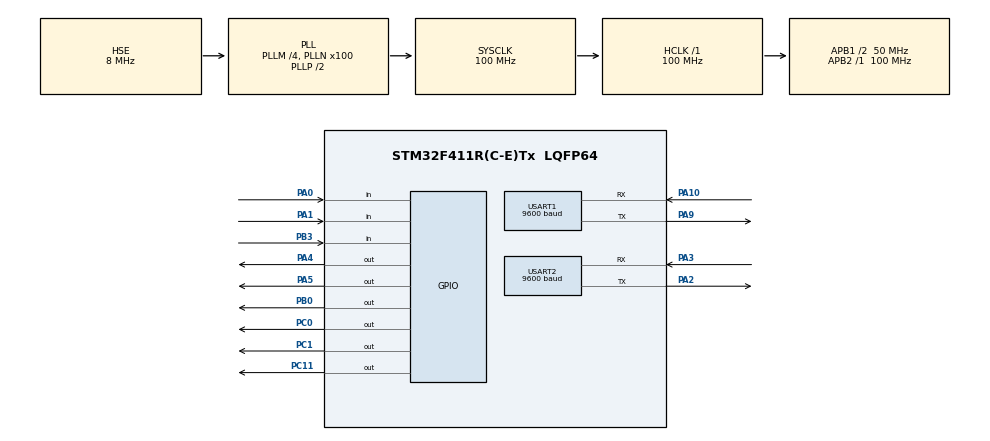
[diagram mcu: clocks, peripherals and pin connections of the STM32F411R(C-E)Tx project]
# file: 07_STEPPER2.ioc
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Mcu.Family=STM32F4
Mcu.Name=STM32F411R(C-E)Tx
Mcu.Package=LQFP64
NVIC.PriorityGroup=NVIC_PRIORITYGROUP_4
PA0-WKUP.Signal=GPIO_Input
PA1.Signal=GPIO_Input
PA10.Mode=Asynchronous
PA10.Signal=USART1_RX
PA13.Mode=Serial_Wire
PA13.Signal=SYS_JTMS-SWDIO
PA14.Mode=Serial_Wire
PA14.Signal=SYS_JTCK-SWCLK
PA2.Mode=Asynchronous
PA2.Signal=USART2_TX
PA3.Mode=Asynchronous
PA3.Signal=USART2_RX
PA4.Signal=GPIO_Output
PA5.Signal=GPIO_Output
PA9.Mode=Asynchronous
PA9.Signal=USART1_TX
PB0.Signal=GPIO_Output
PB3.Signal=GPIO_Input
PC0.Signal=GPIO_Output
PC1.Signal=GPIO_Output
PC11.Signal=GPIO_Output
PH0\ -\ OSC_IN.Mode=HSE-External-Oscillator
PH0\ -\ OSC_IN.Signal=RCC_OSC_IN
PH1\ -\ OSC_OUT.Mode=HSE-External-Oscillator
PH1\ -\ OSC_OUT.Signal=RCC_OSC_OUT
ProjectManager.HeapSize=0x200
ProjectManager.StackSize=0x400
ProjectManager.TargetToolchain=STM32CubeIDE
RCC.48MHZClocksFreq_Value=50000000
RCC.AHBFreq_Value=100000000
RCC.APB1CLKDivider=RCC_HCLK_DIV2
RCC.APB1Freq_Value=50000000
RCC.APB1TimFreq_Value=100000000
RCC.APB2Freq_Value=100000000
RCC.APB2TimFreq_Value=100000000
RCC.CortexFreq_Value=100000000
RCC.HCLKFreq_Value=100000000
RCC.HSE_VALUE=8000000
RCC.HSI_VALUE=16000000
RCC.LSE_VALUE=32768
RCC.PLLM=4
RCC.PLLN=100
RCC.PLLSourceVirtual=RCC_PLLSOURCE_HSE
RCC.SYSCLKFreq_VALUE=100000000
RCC.SYSCLKSource=RCC_SYSCLKSOURCE_PLLCLK
RCC.VCOOutputFreq_Value=200000000
USART1.BaudRate=9600
USART1.VirtualMode=VM_ASYNC
USART2.BaudRate=9600
USART2.VirtualMode=VM_ASYNC
board=custom

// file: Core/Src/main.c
/* USER CODE BEGIN Header */
/**
  ******************************************************************************
  * @file           : main.c
  * @brief          : Main program body
  ******************************************************************************
  * @attention
  *
  * Copyright (c) 2025 STMicroelectronics.
  * All rights reserved.
  *
  * This software is licensed under terms that can be found in the LICENSE file
  * in the root directory of this software component.
  * If no LICENSE file comes with this software, it is provided AS-IS.
  *
  ******************************************************************************
  */
/* USER CODE END Header */
#include "main.h"
#include "usart.h"
#include "gpio.h"

/* USER CODE BEGIN Includes */

#include "stepper.h"
#include "swTimer.h"
#include "button.h"

/* USER CODE END Includes */

void SystemClock_Config(void);

int main(void)
{

  /* MCU Configuration--------------------------------------------------------*/

  /* Reset of all peripherals, Initializes the Flash interface and the Systick. */
  HAL_Init();

  /* Configure the system clock */
  SystemClock_Config();

  /* Initialize all configured peripherals */
  MX_GPIO_Init();
  MX_USART2_UART_Init();
  MX_USART1_UART_Init();
  /* USER CODE BEGIN 2 */

    softTimer_Init(swTimerID1, 3);    // 500ms
    softTimer_Init(swTimerID2, 1000);   // 1000ms
    softTimer_Init(swTimerID3, 1500);   // 1500ms
    softTimer_Init(swTimerID4, 2000);   // 2000ms

    static uint8_t flag =0;
    static uint8_t i= 0;
  /* USER CODE END 2 */

  /* Infinite loop */
  /* USER CODE BEGIN WHILE */
  while (1)
  {
//	  if (!HAL_GPIO_ReadPin(GPIOA, GPIO_PIN_1))
//	  {
//	  	  	motor_update();
//	  }

	  if (buttonGetPressed(0)) { flag ^= 1; }
	  if (flag)
	  {	HAL_GPIO_TogglePin(GPIOC, GPIO_PIN_11);}

//	        // led2 control
//	        if(softTimer_IsTimeOut(swTimerID2) == SET)
//	        {
//	          HAL_GPIO_TogglePin(GPIOA, GPIO_PIN_5);  // LED12 토글
//	          softTimer_Reset(swTimerID2);            // 타이머 리셋
//	        }

		if(buttonGetPressed(1))
			 {i = ++i %3 ;}

			 switch(i)
			 {
			 case 0:  motor_stop(); break;
			 case 1: motor_update(DIR_CW); break;
			 case 2:  motor_update(DIR_CCW); break;
			 }

    /* USER CODE END WHILE */

  }
}

void SystemClock_Config(void)
{
  RCC_OscInitTypeDef RCC_OscInitStruct = {0};
  RCC_ClkInitTypeDef RCC_ClkInitStruct = {0};

  /** Configure the main internal regulator output voltage
  */
  __HAL_RCC_PWR_CLK_ENABLE();
  __HAL_PWR_VOLTAGESCALING_CONFIG(PWR_REGULATOR_VOLTAGE_SCALE1);

  /** Initializes the RCC Oscillators according to the specified parameters
  * in the RCC_OscInitTypeDef structure.
  */
  RCC_OscInitStruct.OscillatorType = RCC_OSCILLATORTYPE_HSE;
  RCC_OscInitStruct.HSEState = RCC_HSE_ON;
  RCC_OscInitStruct.PLL.PLLState = RCC_PLL_ON;
  RCC_OscInitStruct.PLL.PLLSource = RCC_PLLSOURCE_HSE;
  RCC_OscInitStruct.PLL.PLLM = 4;
  RCC_OscInitStruct.PLL.PLLN = 100;
  RCC_OscInitStruct.PLL.PLLP = RCC_PLLP_DIV2;
  RCC_OscInitStruct.PLL.PLLQ = 4;
  if (HAL_RCC_OscConfig(&RCC_OscInitStruct) != HAL_OK)
  {
    Error_Handler();
  }

  /** Initializes the CPU, AHB and APB buses clocks
  */
  RCC_ClkInitStruct.ClockType = RCC_CLOCKTYPE_HCLK|RCC_CLOCKTYPE_SYSCLK
                              |RCC_CLOCKTYPE_PCLK1|RCC_CLOCKTYPE_PCLK2;
  RCC_ClkInitStruct.SYSCLKSource = RCC_SYSCLKSOURCE_PLLCLK;
  RCC_ClkInitStruct.AHBCLKDivider = RCC_SYSCLK_DIV1;
  RCC_ClkInitStruct.APB1CLKDivider = RCC_HCLK_DIV2;
  RCC_ClkInitStruct.APB2CLKDivider = RCC_HCLK_DIV1;

  if (HAL_RCC_ClockConfig(&RCC_ClkInitStruct, FLASH_LATENCY_3) != HAL_OK)
  {
    Error_Handler();
  }
}

void Error_Handler(void)
{
  __disable_irq();
  while (1)
  {
  }
}
